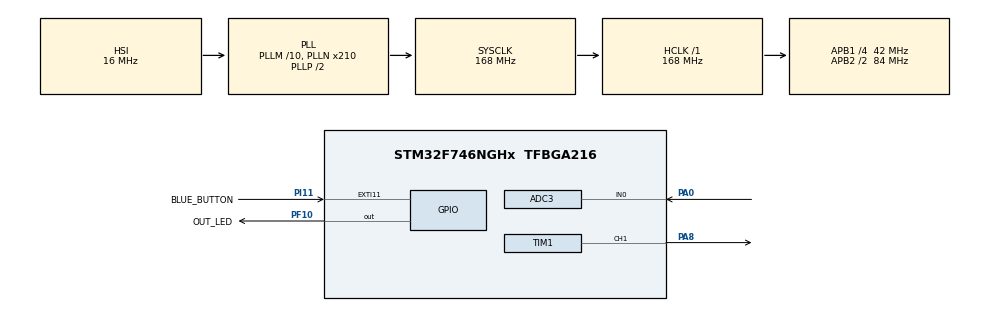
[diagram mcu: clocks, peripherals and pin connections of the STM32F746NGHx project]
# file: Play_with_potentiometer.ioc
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ADC3.Channel-0\#ChannelRegularConversion=ADC_CHANNEL_0
ADC3.NbrOfConversionFlag=1
ADC3.Rank-0\#ChannelRegularConversion=1
ADC3.SamplingTime-0\#ChannelRegularConversion=ADC_SAMPLETIME_3CYCLES
Mcu.Family=STM32F7
Mcu.Name=STM32F746NGHx
Mcu.Package=TFBGA216
NVIC.EXTI15_10_IRQn=true\:0\:0\:false\:false\:true\:true\:true
NVIC.PriorityGroup=NVIC_PRIORITYGROUP_4
NVIC.TIM2_IRQn=true\:1\:0\:true\:false\:true\:true\:true
NVIC.TIM8_TRG_COM_TIM14_IRQn=true\:0\:0\:false\:false\:true\:false\:true
NVIC.TimeBase=TIM8_TRG_COM_TIM14_IRQn
NVIC.TimeBaseIP=TIM14
PA0/WKUP.Signal=ADCx_IN0
PA13.Mode=Serial_Wire
PA13.Signal=SYS_JTMS-SWDIO
PA14.Mode=Serial_Wire
PA14.Signal=SYS_JTCK-SWCLK
PA8.Signal=S_TIM1_CH1
PC14/OSC32_IN.Mode=LSE-External-Clock-Source
PC14/OSC32_IN.Signal=RCC_OSC32_IN
PC15/OSC32_OUT.Mode=LSE-External-Clock-Source
PC15/OSC32_OUT.Signal=RCC_OSC32_OUT
PF10.GPIO_Label=OUT_LED
PF10.Signal=GPIO_Output
PH0/OSC_IN.Mode=HSE-External-Oscillator
PH0/OSC_IN.Signal=RCC_OSC_IN
PH1/OSC_OUT.Mode=HSE-External-Oscillator
PH1/OSC_OUT.Signal=RCC_OSC_OUT
PI11.GPIO_Label=BLUE_BUTTON
PI11.GPIO_PuPd=GPIO_PULLDOWN
PI11.Signal=GPXTI11
ProjectManager.HeapSize=0x200
ProjectManager.StackSize=0x400
ProjectManager.TargetToolchain=STM32CubeIDE
RCC.AHBFreq_Value=168000000
RCC.APB1CLKDivider=RCC_HCLK_DIV4
RCC.APB1Freq_Value=42000000
RCC.APB1TimFreq_Value=84000000
RCC.APB2CLKDivider=RCC_HCLK_DIV2
RCC.APB2Freq_Value=84000000
RCC.APB2TimFreq_Value=168000000
RCC.CortexFreq_Value=168000000
RCC.HCLKFreq_Value=168000000
RCC.HSE_VALUE=25000000
RCC.HSI_VALUE=16000000
RCC.LSE_VALUE=32768
RCC.PLLM=10
RCC.PLLN=210
RCC.PLLSourceVirtual=RCC_PLLSOURCE_HSI
RCC.SYSCLKFreq_VALUE=168000000
RCC.SYSCLKSource=RCC_SYSCLKSOURCE_PLLCLK
RCC.USBFreq_Value=168000000
RCC.VCOOutputFreq_Value=336000000
SH.ADCx_IN0.0=ADC3_IN0,IN0
SH.S_TIM1_CH1.0=TIM1_CH1,PWM Generation1 CH1
TIM1.Channel-PWM\ Generation1\ CH1=TIM_CHANNEL_1
TIM1.Period=4096-1
TIM1.Prescaler=168-1
TIM1.Pulse-PWM\ Generation1\ CH1=4096-1
TIM2.Period=1000
TIM2.Prescaler=42000
VP_SYS_VS_tim14.Mode=TIM14
VP_TIM1_VS_ClockSourceINT.Mode=Internal
VP_TIM2_VS_ClockSourceINT.Mode=Internal
board=STM32F746G-DISCO

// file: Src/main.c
/* USER CODE BEGIN Header */
/**
 ******************************************************************************
 * @file           : main.c
 * @brief          : Main program body
 ******************************************************************************
 * @attention
 *
 * <h2><center>&copy; Copyright (c) 2019 STMicroelectronics.
 * All rights reserved.</center></h2>
 *
 * This software component is licensed by ST under BSD 3-Clause license,
 * the "License"; You may not use this file except in compliance with the
 * License. You may obtain a copy of the License at:
 *                        opensource.org/licenses/BSD-3-Clause
 *
 ******************************************************************************
 */
/* USER CODE END Header */

#include "main.h"

ADC_HandleTypeDef hadc3;

TIM_HandleTypeDef htim1;
TIM_HandleTypeDef htim2;

/* USER CODE BEGIN PV */

uint16_t pulse = 4095;
uint16_t adc_value;
uint8_t test = 0;
int arr_changer;// = 900 - ((1000-100) / (adc_value / 4096));

uint8_t case_changer = 0;

/* USER CODE END PV */

void SystemClock_Config(void);
static void MX_GPIO_Init(void);
static void MX_TIM1_Init(void);
static void MX_ADC3_Init(void);
static void MX_TIM2_Init(void);

int main(void)
{

  /* MCU Configuration--------------------------------------------------------*/

  /* Reset of all peripherals, Initializes the Flash interface and the Systick. */
  HAL_Init();

  /* Configure the system clock */
  SystemClock_Config();

  /* Initialize all configured peripherals */
  MX_GPIO_Init();
  MX_TIM1_Init();
  MX_ADC3_Init();
  MX_TIM2_Init();
  /* USER CODE BEGIN 2 */
	HAL_TIM_PWM_Start(&htim1, TIM_CHANNEL_1);
	HAL_TIM_Base_Start_IT(&htim2);

  /* USER CODE END 2 */

  /* Infinite loop */
  /* USER CODE BEGIN WHILE */
	while (1) {

		HAL_Delay(300);
		HAL_ADC_Start(&hadc3);
		if (HAL_ADC_PollForConversion(&hadc3, 10) == HAL_OK) {
			adc_value = HAL_ADC_GetValue(&hadc3);
			pulse = adc_value;

		}
		if(case_changer == 0){
		__HAL_TIM_SET_COMPARE(&htim1, TIM_CHANNEL_1, pulse);
		}

    /* USER CODE END WHILE */

	}
}

void SystemClock_Config(void)
{
  RCC_OscInitTypeDef RCC_OscInitStruct = {0};
  RCC_ClkInitTypeDef RCC_ClkInitStruct = {0};

  /** Configure the main internal regulator output voltage
  */
  __HAL_RCC_PWR_CLK_ENABLE();
  __HAL_PWR_VOLTAGESCALING_CONFIG(PWR_REGULATOR_VOLTAGE_SCALE2);
  /** Initializes the CPU, AHB and APB busses clocks
  */
  RCC_OscInitStruct.OscillatorType = RCC_OSCILLATORTYPE_HSI;
  RCC_OscInitStruct.HSIState = RCC_HSI_ON;
  RCC_OscInitStruct.HSICalibrationValue = RCC_HSICALIBRATION_DEFAULT;
  RCC_OscInitStruct.PLL.PLLState = RCC_PLL_ON;
  RCC_OscInitStruct.PLL.PLLSource = RCC_PLLSOURCE_HSI;
  RCC_OscInitStruct.PLL.PLLM = 10;
  RCC_OscInitStruct.PLL.PLLN = 210;
  RCC_OscInitStruct.PLL.PLLP = RCC_PLLP_DIV2;
  RCC_OscInitStruct.PLL.PLLQ = 2;
  if (HAL_RCC_OscConfig(&RCC_OscInitStruct) != HAL_OK)
  {
    Error_Handler();
  }
  /** Initializes the CPU, AHB and APB busses clocks
  */
  RCC_ClkInitStruct.ClockType = RCC_CLOCKTYPE_HCLK|RCC_CLOCKTYPE_SYSCLK
                              |RCC_CLOCKTYPE_PCLK1|RCC_CLOCKTYPE_PCLK2;
  RCC_ClkInitStruct.SYSCLKSource = RCC_SYSCLKSOURCE_PLLCLK;
  RCC_ClkInitStruct.AHBCLKDivider = RCC_SYSCLK_DIV1;
  RCC_ClkInitStruct.APB1CLKDivider = RCC_HCLK_DIV4;
  RCC_ClkInitStruct.APB2CLKDivider = RCC_HCLK_DIV2;

  if (HAL_RCC_ClockConfig(&RCC_ClkInitStruct, FLASH_LATENCY_5) != HAL_OK)
  {
    Error_Handler();
  }
}

static void MX_ADC3_Init(void)
{

  ADC_ChannelConfTypeDef sConfig = {0};

  /** Configure the global features of the ADC (Clock, Resolution, Data Alignment and number of conversion)
  */
  hadc3.Instance = ADC3;
  hadc3.Init.ClockPrescaler = ADC_CLOCK_SYNC_PCLK_DIV4;
  hadc3.Init.Resolution = ADC_RESOLUTION_12B;
  hadc3.Init.ScanConvMode = ADC_SCAN_DISABLE;
  hadc3.Init.ContinuousConvMode = DISABLE;
  hadc3.Init.DiscontinuousConvMode = DISABLE;
  hadc3.Init.ExternalTrigConvEdge = ADC_EXTERNALTRIGCONVEDGE_NONE;
  hadc3.Init.ExternalTrigConv = ADC_SOFTWARE_START;
  hadc3.Init.DataAlign = ADC_DATAALIGN_RIGHT;
  hadc3.Init.NbrOfConversion = 1;
  hadc3.Init.DMAContinuousRequests = DISABLE;
  hadc3.Init.EOCSelection = ADC_EOC_SINGLE_CONV;
  if (HAL_ADC_Init(&hadc3) != HAL_OK)
  {
    Error_Handler();
  }
  /** Configure for the selected ADC regular channel its corresponding rank in the sequencer and its sample time.
  */
  sConfig.Channel = ADC_CHANNEL_0;
  sConfig.Rank = ADC_REGULAR_RANK_1;
  sConfig.SamplingTime = ADC_SAMPLETIME_3CYCLES;
  if (HAL_ADC_ConfigChannel(&hadc3, &sConfig) != HAL_OK)
  {
    Error_Handler();
  }

}

static void MX_TIM1_Init(void)
{

  TIM_ClockConfigTypeDef sClockSourceConfig = {0};
  TIM_MasterConfigTypeDef sMasterConfig = {0};
  TIM_OC_InitTypeDef sConfigOC = {0};
  TIM_BreakDeadTimeConfigTypeDef sBreakDeadTimeConfig = {0};

  htim1.Instance = TIM1;
  htim1.Init.Prescaler = 168-1;
  htim1.Init.CounterMode = TIM_COUNTERMODE_UP;
  htim1.Init.Period = 4096-1;
  htim1.Init.ClockDivision = TIM_CLOCKDIVISION_DIV1;
  htim1.Init.RepetitionCounter = 0;
  htim1.Init.AutoReloadPreload = TIM_AUTORELOAD_PRELOAD_DISABLE;
  if (HAL_TIM_Base_Init(&htim1) != HAL_OK)
  {
    Error_Handler();
  }
  sClockSourceConfig.ClockSource = TIM_CLOCKSOURCE_INTERNAL;
  if (HAL_TIM_ConfigClockSource(&htim1, &sClockSourceConfig) != HAL_OK)
  {
    Error_Handler();
  }
  if (HAL_TIM_PWM_Init(&htim1) != HAL_OK)
  {
    Error_Handler();
  }
  sMasterConfig.MasterOutputTrigger = TIM_TRGO_RESET;
  sMasterConfig.MasterOutputTrigger2 = TIM_TRGO2_RESET;
  sMasterConfig.MasterSlaveMode = TIM_MASTERSLAVEMODE_DISABLE;
  if (HAL_TIMEx_MasterConfigSynchronization(&htim1, &sMasterConfig) != HAL_OK)
  {
    Error_Handler();
  }
  sConfigOC.OCMode = TIM_OCMODE_PWM1;
  sConfigOC.Pulse = 4096-1;
  sConfigOC.OCPolarity = TIM_OCPOLARITY_HIGH;
  sConfigOC.OCNPolarity = TIM_OCNPOLARITY_HIGH;
  sConfigOC.OCFastMode = TIM_OCFAST_DISABLE;
  sConfigOC.OCIdleState = TIM_OCIDLESTATE_RESET;
  sConfigOC.OCNIdleState = TIM_OCNIDLESTATE_RESET;
  if (HAL_TIM_PWM_ConfigChannel(&htim1, &sConfigOC, TIM_CHANNEL_1) != HAL_OK)
  {
    Error_Handler();
  }
  sBreakDeadTimeConfig.OffStateRunMode = TIM_OSSR_DISABLE;
  sBreakDeadTimeConfig.OffStateIDLEMode = TIM_OSSI_DISABLE;
  sBreakDeadTimeConfig.LockLevel = TIM_LOCKLEVEL_OFF;
  sBreakDeadTimeConfig.DeadTime = 0;
  sBreakDeadTimeConfig.BreakState = TIM_BREAK_DISABLE;
  sBreakDeadTimeConfig.BreakPolarity = TIM_BREAKPOLARITY_HIGH;
  sBreakDeadTimeConfig.BreakFilter = 0;
  sBreakDeadTimeConfig.Break2State = TIM_BREAK2_DISABLE;
  sBreakDeadTimeConfig.Break2Polarity = TIM_BREAK2POLARITY_HIGH;
  sBreakDeadTimeConfig.Break2Filter = 0;
  sBreakDeadTimeConfig.AutomaticOutput = TIM_AUTOMATICOUTPUT_DISABLE;
  if (HAL_TIMEx_ConfigBreakDeadTime(&htim1, &sBreakDeadTimeConfig) != HAL_OK)
  {
    Error_Handler();
  }
  HAL_TIM_MspPostInit(&htim1);

}

static void MX_TIM2_Init(void)
{

  TIM_ClockConfigTypeDef sClockSourceConfig = {0};
  TIM_MasterConfigTypeDef sMasterConfig = {0};

  htim2.Instance = TIM2;
  htim2.Init.Prescaler = 42000;
  htim2.Init.CounterMode = TIM_COUNTERMODE_UP;
  htim2.Init.Period = 1000;
  htim2.Init.ClockDivision = TIM_CLOCKDIVISION_DIV1;
  htim2.Init.AutoReloadPreload = TIM_AUTORELOAD_PRELOAD_DISABLE;
  if (HAL_TIM_Base_Init(&htim2) != HAL_OK)
  {
    Error_Handler();
  }
  sClockSourceConfig.ClockSource = TIM_CLOCKSOURCE_INTERNAL;
  if (HAL_TIM_ConfigClockSource(&htim2, &sClockSourceConfig) != HAL_OK)
  {
    Error_Handler();
  }
  sMasterConfig.MasterOutputTrigger = TIM_TRGO_RESET;
  sMasterConfig.MasterSlaveMode = TIM_MASTERSLAVEMODE_DISABLE;
  if (HAL_TIMEx_MasterConfigSynchronization(&htim2, &sMasterConfig) != HAL_OK)
  {
    Error_Handler();
  }

}

static void MX_GPIO_Init(void)
{
  GPIO_InitTypeDef GPIO_InitStruct = {0};

  /* GPIO Ports Clock Enable */
  __HAL_RCC_GPIOA_CLK_ENABLE();
  __HAL_RCC_GPIOC_CLK_ENABLE();
  __HAL_RCC_GPIOI_CLK_ENABLE();
  __HAL_RCC_GPIOH_CLK_ENABLE();
  __HAL_RCC_GPIOF_CLK_ENABLE();

  /*Configure GPIO pin Output Level */
  HAL_GPIO_WritePin(OUT_LED_GPIO_Port, OUT_LED_Pin, GPIO_PIN_RESET);

  /*Configure GPIO pin : BLUE_BUTTON_Pin */
  GPIO_InitStruct.Pin = BLUE_BUTTON_Pin;
  GPIO_InitStruct.Mode = GPIO_MODE_IT_RISING;
  GPIO_InitStruct.Pull = GPIO_PULLDOWN;
  HAL_GPIO_Init(BLUE_BUTTON_GPIO_Port, &GPIO_InitStruct);

  /*Configure GPIO pin : OUT_LED_Pin */
  GPIO_InitStruct.Pin = OUT_LED_Pin;
  GPIO_InitStruct.Mode = GPIO_MODE_OUTPUT_PP;
  GPIO_InitStruct.Pull = GPIO_NOPULL;
  GPIO_InitStruct.Speed = GPIO_SPEED_FREQ_LOW;
  HAL_GPIO_Init(OUT_LED_GPIO_Port, &GPIO_InitStruct);

  /* EXTI interrupt init*/
  HAL_NVIC_SetPriority(EXTI15_10_IRQn, 0, 0);
  HAL_NVIC_EnableIRQ(EXTI15_10_IRQn);

}

/* USER CODE BEGIN 4 */
void HAL_GPIO_EXTI_Callback(uint16_t GPIO_Pin)
{

	if (case_changer == 1){
		case_changer = 0;
	}else{
		case_changer = 1;
	}

    test++;
}

/* USER CODE END 4 */

void HAL_TIM_PeriodElapsedCallback(TIM_HandleTypeDef *htim)
{
  /* USER CODE BEGIN Callback 0 */
	if (htim->Instance == TIM2) {
		HAL_GPIO_TogglePin(OUT_LED_GPIO_Port, OUT_LED_Pin);
		//test += 1;

		//arr_changer = 900 - (((float)900/4096) * adc_value);
		if(case_changer == 1){
				arr_changer = (900 - (int)(900 / (float)((float)4096 / adc_value ))) + 100;
		TIM2->ARR = arr_changer;
				}

		//HAL_TIM_Base_Stop_IT(&htim2);
		//HAL_TIM_Base_Start_IT(&htim1);
	}

  /* USER CODE END Callback 0 */
  if (htim->Instance == TIM14) {
    HAL_IncTick();
  }
}

void Error_Handler(void)
{
}

/************************ (C) COPYRIGHT STMicroelectronics *****END OF FILE****/
